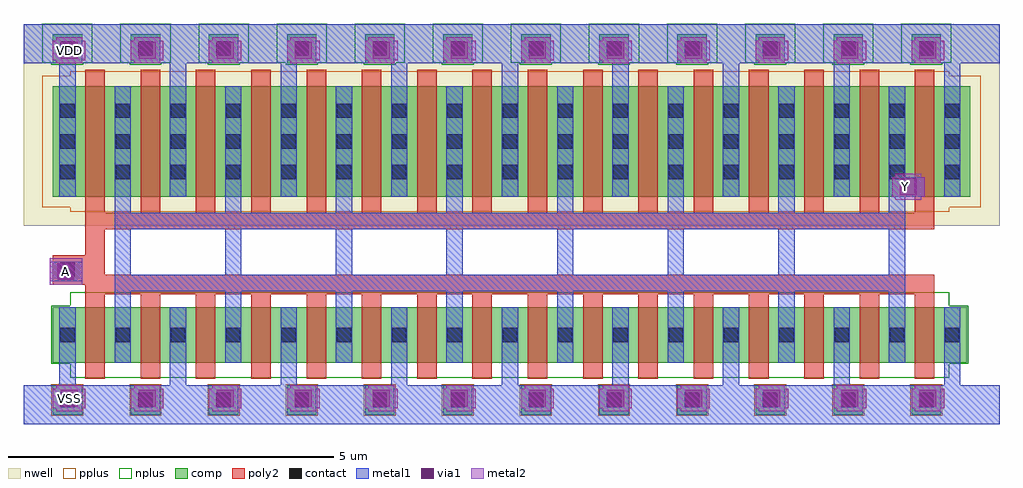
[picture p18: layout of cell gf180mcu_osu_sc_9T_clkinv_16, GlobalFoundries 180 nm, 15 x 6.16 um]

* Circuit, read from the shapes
.subckt gf180mcu_osu_sc_9T_clkinv_16 A VDD VSS Y
XM1 Y A VSS VSS nfet_03v3 w=0.85u l=0.3u m=16
XM2 Y A VDD VDD pfet_03v3 w=1.7u l=0.3u m=16
.ends

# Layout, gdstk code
import gdstk
lib = gdstk.Library(unit=1e-6, precision=1e-09)
def R(c, l, rs):  # rectangles x0, y0, x1, y1
    for r in rs: c.add(gdstk.rectangle(r[:2], r[2:], *l))
def A(c, l, x, y, w, h, nx, ny, dx, dy):  # array of equal rectangles
    R(c, l, [(x+i*dx, y+j*dy, x+i*dx+w, y+j*dy+h) for i in range(nx) for j in range(ny)])
nwell = (21, 0)
comp = (22, 0)
poly2 = (30, 0)
pplus = (31, 0)
nplus = (32, 0)
contact = (33, 0)
metal1 = (34, 0)
via1 = (35, 0)
metal2 = (36, 0)

gf180mcu_osu_sc_9t_clkin = lib.new_cell('gf180mcu_osu_sc_9T_clkinv_16')
R(gf180mcu_osu_sc_9t_clkin, nwell, [(0,3.05,15,6.15)])
A(gf180mcu_osu_sc_9t_clkin, comp, 0.45, 0.15, 0.45, 0.45, 12, 2, 1.2, 5.4)
R(gf180mcu_osu_sc_9t_clkin, comp, [(0.45,0.95,14.5,1.8), (0.45,3.5,14.55,5.2)])
A(gf180mcu_osu_sc_9t_clkin, poly2, 0.95, 0.7, 0.3, 1.3, 16, 1, 0.85, 0)
A(gf180mcu_osu_sc_9t_clkin, poly2, 0.95, 3.25, 0.3, 2.2, 16, 1, 0.85, 0)
R(gf180mcu_osu_sc_9t_clkin, poly2, [(0.95,2,14,2.15), (0.45,2.15,14,2.3), (0.45,2.3,1.25,2.6), (0.95,2.6,1.25,3), (0.95,3,14,3.25)])
A(gf180mcu_osu_sc_9t_clkin, pplus, 0.43, 0.13, 0.49, 0.49, 12, 1, 1.2, 0)
R(gf180mcu_osu_sc_9t_clkin, pplus, [(0.72,3.27,14.23,3.34), (0.29,3.34,14.71,5.36), (0.72,5.36,14.23,5.43)])
A(gf180mcu_osu_sc_9t_clkin, nplus, 0.43, 5.53, 0.49, 0.03, 12, 1, 1.2, 0)
A(gf180mcu_osu_sc_9t_clkin, nplus, 0.29, 5.56, 0.77, 0.6, 12, 1, 1.2, 0)
R(gf180mcu_osu_sc_9t_clkin, nplus, [(0.72,0.72,14.23,0.93), (0.43,0.93,14.52,1.82), (0.72,1.82,14.23,2.03)])
A(gf180mcu_osu_sc_9t_clkin, contact, 0.565, 0.265, 0.22, 0.22, 12, 2, 1.2, 5.4)
A(gf180mcu_osu_sc_9t_clkin, contact, 0.565, 1.265, 0.22, 0.22, 17, 2, 0.85, 2.505)
A(gf180mcu_osu_sc_9t_clkin, contact, 0.565, 4.24, 0.22, 0.22, 17, 2, 0.85, 0.47)
R(gf180mcu_osu_sc_9t_clkin, contact, [(0.565,2.265,0.785,2.485)])
A(gf180mcu_osu_sc_9t_clkin, metal1, 0.55, 0.6, 0.25, 1.2, 9, 1, 1.7, 0)
A(gf180mcu_osu_sc_9t_clkin, metal1, 1.4, 0.95, 0.25, 1.1, 8, 1, 1.7, 0)
A(gf180mcu_osu_sc_9t_clkin, metal1, 1.4, 2.3, 0.25, 0.7, 8, 1, 1.7, 0)
A(gf180mcu_osu_sc_9t_clkin, metal1, 1.4, 3.25, 0.25, 1.95, 7, 1, 1.7, 0)
A(gf180mcu_osu_sc_9t_clkin, metal1, 0.55, 3.5, 0.25, 2.05, 9, 1, 1.7, 0)
R(gf180mcu_osu_sc_9t_clkin, metal1, [(0,0,15,0.6), (1.4,2.05,13.55,2.3), (0.4,2.2,0.9,2.5), (1.4,3,13.55,3.25), (13.3,3.25,13.55,3.5), (13.3,3.5,13.85,3.8), (13.3,3.8,13.55,5.2), (0,5.55,15,6.15)])
A(gf180mcu_osu_sc_9t_clkin, via1, 0.57, 0.27, 0.26, 0.26, 12, 2, 1.2, 5.35)
R(gf180mcu_osu_sc_9t_clkin, via1, [(0.52,2.22,0.78,2.48), (13.47,3.52,13.73,3.78)])
A(gf180mcu_osu_sc_9t_clkin, metal2, 0.5, 0.2, 0.4, 0.05, 12, 2, 1.2, 0.35)
A(gf180mcu_osu_sc_9t_clkin, metal2, 0.45, 0.25, 0.5, 0.3, 12, 2, 1.2, 5.35)
A(gf180mcu_osu_sc_9t_clkin, metal2, 0.5, 5.55, 0.4, 0.05, 12, 2, 1.2, 0.35)
R(gf180mcu_osu_sc_9t_clkin, metal2, [(0.4,2.15,0.9,2.55), (13.4,3.45,13.8,3.5), (13.35,3.5,13.85,3.8), (13.4,3.8,13.8,3.85)])
gf180mcu_osu_sc_9t_clkin.add(gdstk.Label('VDD', (0.7,5.75), layer=36, texttype=0))
gf180mcu_osu_sc_9t_clkin.add(gdstk.Label('VSS', (0.7,0.4), layer=36, texttype=0))
gf180mcu_osu_sc_9t_clkin.add(gdstk.Label('A', (0.65,2.35), layer=36, texttype=10))
gf180mcu_osu_sc_9t_clkin.add(gdstk.Label('Y', (13.55,3.65), layer=36, texttype=10))

lib.write_gds('gf180mcu_osu_sc_9T_clkinv_16.gds')
